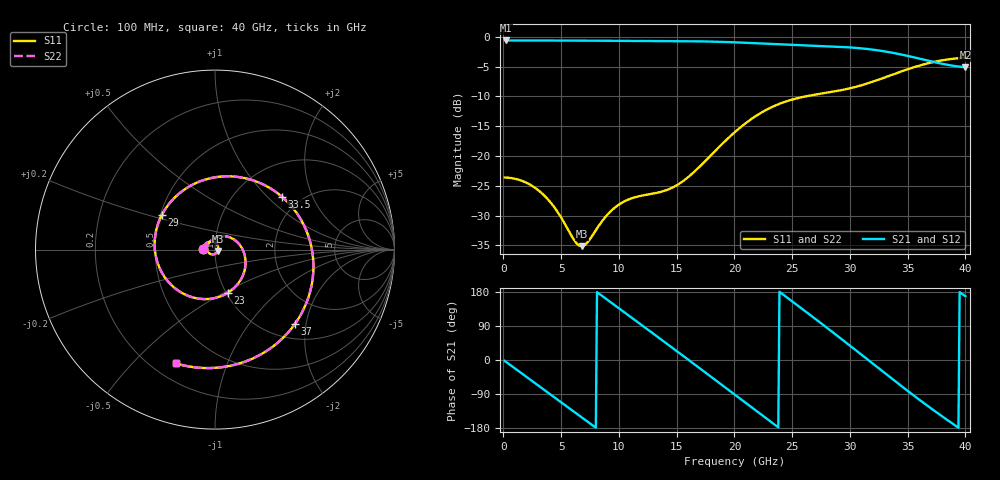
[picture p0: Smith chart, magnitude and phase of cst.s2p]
! A_s4_d200_ap600: L1→L4 through L2/L3, drill Ø0.2, antipad Ø0.6, 4 GND vias at 1 mm
! stackup: 4-layer 1.6 mm FR-4
! ports: 1, 2
! CST Studio Suite 2025.5 Release from 2025-05-30, time domain (FIT, hexahedral, PBA), 136400 mesh cells, 29 s
! mesh: {'lpw': 20, 'lpb': 20, 'minstep': 0.0, 'ratio': 20}; ports: port 1 (face); port 2 (face)
! interpolated from CST's 1001 samples to the case grid
# Hz S RI R 50
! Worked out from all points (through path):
!   400 points, 100 MHz to 40 GHz, reference 50 ohm
!   highest |S21| = -0.60 dB at 200 MHz (marker M1); lowest = -5.1 dB at 40 GHz (marker M2)
!   group delay of S21, straight-line fit = 63.7 ps
!   lowest |S11| = -35.1 dB at 6.8 GHz (marker M3), VSWR 1.04, Z = 51.6 - j0.795 ohm
!   |S11| at or under -10 dB: start of sweep to 26.12 GHz
!   |S22| runs from -35.1 to -3.5 dB; largest |S21 - S12| = 3.2e-07
!   S11 on the Smith chart (normalised r, x): 100 MHz: 0.88, +0.00; 23 GHz: 1.02, -0.52; 29 GHz: 0.51, +0.22; 33.5 GHz: 1.61, +1.23; 37 GHz: 1.31, -1.72; 40 GHz: 0.29, -0.67
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1e8  -0.0661 0.00224  0.933 -0.0364  0.933 -0.0364  -0.0661 0.00224
2e8  -0.0659 0.00447  0.9309 -0.0727  0.9309 -0.0727  -0.0659 0.00447
3.6e9  -0.0121 0.0444  0.1559 -0.9196  0.1559 -0.9196  -0.0121 0.0444
5.1e9  0.0136 0.026  -0.3773 -0.852  -0.3773 -0.852  0.0136 0.026
6.8e9  0.0157 -0.0077  -0.8208 -0.4385  -0.8208 -0.4385  0.0157 -0.0077
8.7e9  -0.0133 -0.0266  -0.8996 0.2312  -0.8996 0.2312  -0.0134 -0.0266
1.07e10  -0.042 -0.00785  -0.4739 0.7968  -0.4739 0.7968  -0.042 -0.00783
1.34e10  -0.0354 0.0345  0.4634 0.8004  0.4634 0.8004  -0.0354 0.0345
1.5e10  -0.0163 0.0544  0.8451 0.3707  0.8451 0.3707  -0.0162 0.0544
1.65e10  0.0164 0.0716  0.9041 -0.1672  0.9041 -0.1672  0.0164 0.0716
1.85e10  0.0966 0.0618  0.506 -0.7574  0.506 -0.7574  0.0966 0.0618
2.01e10  0.1603 -0.014  -0.0466 -0.8989  -0.0466 -0.8989  0.1603 -0.0141
2.3e10  0.072 -0.2403  -0.8188 -0.3072  -0.8188 -0.3072  0.072 -0.2404
2.48e10  -0.1251 -0.266  -0.8038 0.3029  -0.8038 0.3029  -0.1251 -0.266
2.67e10  -0.303 -0.1153  -0.365 0.7622  -0.365 0.7622  -0.303 -0.1153
2.9e10  -0.2965 0.1925  0.3919 0.7289  0.3919 0.7289  -0.2965 0.1926
3.12e10  -0.0291 0.397  0.7875 0.1271  0.7875 0.1271  -0.0291 0.397
3.34e10  0.356 0.3085  0.5383 -0.5147  0.5383 -0.5147  0.3561 0.3085
3.35e10  0.3717 0.2957  0.5143 -0.5345  0.5143 -0.5345  0.3717 0.2957
3.52e10  0.5428 -0.0173  0.0453 -0.6844  0.0453 -0.6844  0.5428 -0.0173
3.7e10  0.4439 -0.416  -0.3762 -0.4981  -0.3762 -0.4981  0.4439 -0.416
4e10  -0.2199 -0.6333  -0.5441 0.1112  -0.5441 0.1112  -0.2199 -0.6334
